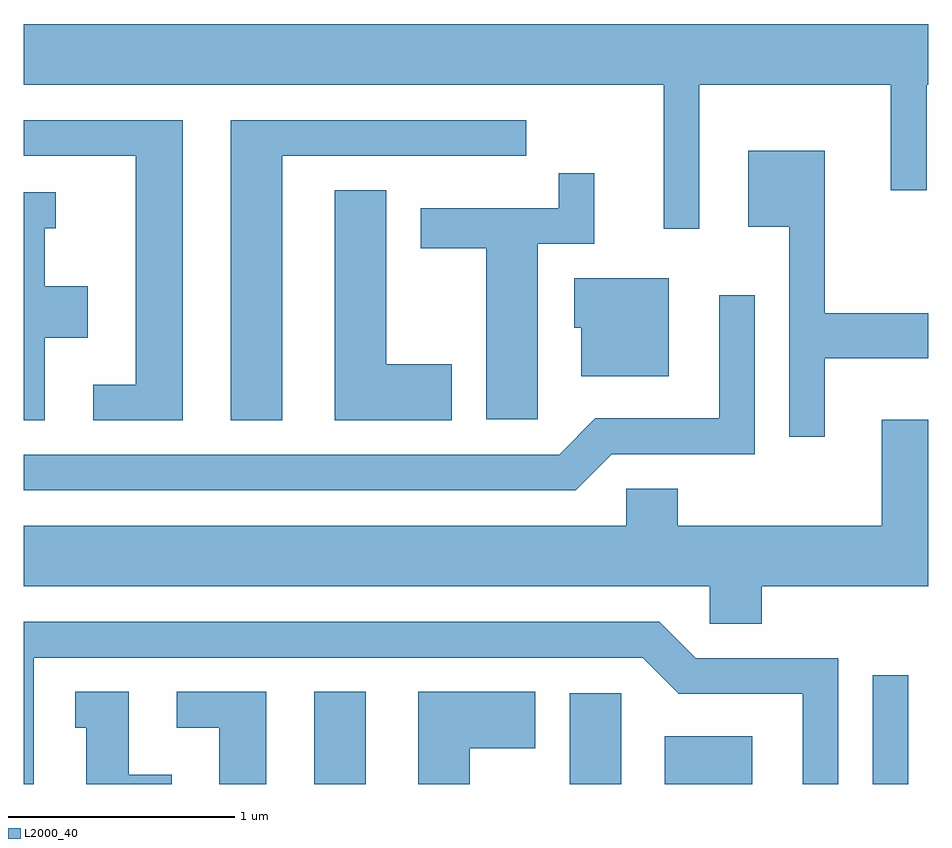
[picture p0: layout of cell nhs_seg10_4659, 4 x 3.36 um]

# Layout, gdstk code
import gdstk
lib = gdstk.Library(unit=1e-6, precision=1e-09)
def R(c, l, rs):  # rectangles x0, y0, x1, y1
    for r in rs: c.add(gdstk.rectangle(r[:2], r[2:], *l))
def P(c, l, *ps):  # polygons
    for p in ps: c.add(gdstk.Polygon(p, *l))
L2000_40 = (2000, 40)

nhs_seg10_4659 = lib.new_cell('nhs_seg10_4659')
R(nhs_seg10_4659, L2000_40, [(322.896,2188.522,323.124,2188.929), (324.026,2188.522,324.254,2188.924), (324.446,2188.522,324.834,2188.734), (325.366,2188.522,325.524,2189.003)])
P(nhs_seg10_4659, L2000_40, [(324.599,2191.616),(325.446,2191.616),(325.446,2191.148),(325.604,2191.148),(325.604,2191.616),(325.611,2191.616),(325.611,2191.884),(321.611,2191.884),(321.611,2191.616),(324.441,2191.616),(324.441,2190.978),(324.599,2190.978)],
  [(322.754,2191.301),(323.833,2191.301),(323.833,2191.459),(322.526,2191.459),(322.526,2190.131),(322.754,2190.131)],
  [(322.314,2191.459),(321.611,2191.459),(321.611,2191.301),(322.106,2191.301),(322.106,2190.289),(321.918,2190.289),(321.918,2190.131),(322.314,2190.131)],
  [(325.154,2190.406),(325.611,2190.406),(325.611,2190.604),(325.154,2190.604),(325.154,2191.324),(324.816,2191.324),(324.816,2190.986),(324.996,2190.986),(324.996,2190.058),(325.154,2190.058)],
  [(323.884,2190.911),(324.134,2190.911),(324.134,2191.223),(323.976,2191.223),(323.976,2191.069),(323.366,2191.069),(323.366,2190.891),(323.656,2190.891),(323.656,2190.136),(323.884,2190.136)],
  [(323.504,2190.379),(323.214,2190.379),(323.214,2191.149),(322.986,2191.149),(322.986,2190.131),(323.504,2190.131)],
  [(321.704,2190.496),(321.894,2190.496),(321.894,2190.724),(321.704,2190.724),(321.704,2190.981),(321.753,2190.981),(321.753,2191.139),(321.611,2191.139),(321.611,2190.131),(321.704,2190.131)],
  [(324.464,2190.759),(324.046,2190.759),(324.046,2190.541),(324.076,2190.541),(324.076,2190.326),(324.464,2190.326)],
  [(324.212,2189.981),(324.844,2189.981),(324.844,2190.683),(324.686,2190.683),(324.686,2190.139),(324.139,2190.139),(323.979,2189.979),(321.611,2189.979),(321.611,2189.821),(324.052,2189.821)],
  [(324.874,2189.396),(325.611,2189.396),(325.611,2190.134),(325.406,2190.134),(325.406,2189.664),(324.504,2189.664),(324.504,2189.829),(324.276,2189.829),(324.276,2189.664),(321.611,2189.664),(321.611,2189.396),(324.646,2189.396),(324.646,2189.231),(324.874,2189.231)],
  [(321.654,2189.081),(324.349,2189.081),(324.509,2188.921),(325.056,2188.921),(325.056,2188.522),(325.214,2188.522),(325.214,2189.079),(324.582,2189.079),(324.422,2189.239),(321.611,2189.239),(321.611,2188.522),(321.654,2188.522)],
  [(323.584,2188.681),(323.874,2188.681),(323.874,2188.929),(323.356,2188.929),(323.356,2188.522),(323.584,2188.522)],
  [(322.684,2188.929),(322.288,2188.929),(322.288,2188.771),(322.476,2188.771),(322.476,2188.522),(322.684,2188.522)],
  [(322.264,2188.564),(322.074,2188.564),(322.074,2188.929),(321.838,2188.929),(321.838,2188.771),(321.886,2188.771),(321.886,2188.522),(322.264,2188.522)])

lib.write_gds('nhs_seg10_4659.gds')
